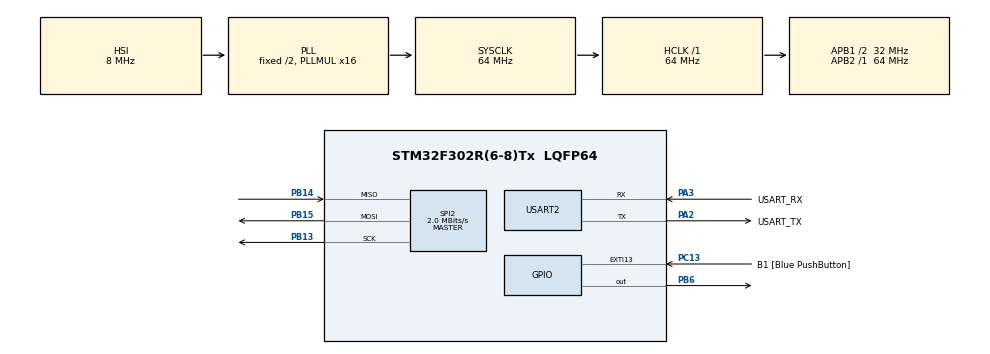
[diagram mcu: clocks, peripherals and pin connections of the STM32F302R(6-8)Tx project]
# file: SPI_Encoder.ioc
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Mcu.Family=STM32F3
Mcu.Name=STM32F302R(6-8)Tx
Mcu.Package=LQFP64
NVIC.PriorityGroup=NVIC_PRIORITYGROUP_0
PA13.GPIO_Label=TMS
PA13.Mode=Serial_Wire
PA13.Signal=SYS_JTMS-SWDIO
PA14.GPIO_Label=TCK
PA14.Mode=Serial_Wire
PA14.Signal=SYS_JTCK-SWCLK
PA2.GPIO_Label=USART_TX
PA2.GPIO_Mode=GPIO_MODE_AF_PP
PA2.GPIO_PuPd=GPIO_NOPULL
PA2.GPIO_Speed=GPIO_SPEED_FREQ_LOW
PA2.Mode=Asynchronous
PA2.Signal=USART2_TX
PA3.GPIO_Label=USART_RX
PA3.GPIO_Mode=GPIO_MODE_AF_PP
PA3.GPIO_PuPd=GPIO_NOPULL
PA3.GPIO_Speed=GPIO_SPEED_FREQ_LOW
PA3.Mode=Asynchronous
PA3.Signal=USART2_RX
PB13.Mode=Full_Duplex_Master
PB13.Signal=SPI2_SCK
PB14.Mode=Full_Duplex_Master
PB14.Signal=SPI2_MISO
PB15.Mode=Full_Duplex_Master
PB15.Signal=SPI2_MOSI
PB3.GPIO_Label=SWO
PB3.Mode=Trace_Asynchronous_SW
PB3.Signal=SYS_JTDO-TRACESWO
PB6.GPIO_PuPd=GPIO_NOPULL
PB6.GPIO_Speed=GPIO_SPEED_FREQ_HIGH
PB6.PinState=GPIO_PIN_RESET
PB6.Signal=GPIO_Output
PC13.GPIO_Label=B1 [Blue PushButton]
PC13.GPIO_ModeDefaultEXTI=GPIO_MODE_IT_FALLING
PC13.Signal=GPXTI13
PC14\ -\ OSC32_IN.Mode=LSE-External-Oscillator
PC14\ -\ OSC32_IN.Signal=RCC_OSC32_IN
PC15\ -\ OSC32_OUT.Mode=LSE-External-Oscillator
PC15\ -\ OSC32_OUT.Signal=RCC_OSC32_OUT
PF0-OSC_IN.Mode=HSE-External-Clock-Source
PF0-OSC_IN.Signal=RCC_OSC_IN
PF1-OSC_OUT.Signal=RCC_OSC_OUT
ProjectManager.HeapSize=0x200
ProjectManager.StackSize=0x400
ProjectManager.TargetToolchain=STM32CubeIDE
RCC.AHBFreq_Value=64000000
RCC.APB1CLKDivider=RCC_HCLK_DIV2
RCC.APB1Freq_Value=32000000
RCC.APB1TimFreq_Value=64000000
RCC.APB2Freq_Value=64000000
RCC.APB2TimFreq_Value=64000000
RCC.CortexFreq_Value=64000000
RCC.HCLKFreq_Value=64000000
RCC.HSE_VALUE=8000000
RCC.HSI_VALUE=8000000
RCC.PLLM=8
RCC.PLLMUL=RCC_PLL_MUL16
RCC.PLLN=336
RCC.PLLP=RCC_PLLP_DIV4
RCC.PLLQ=7
RCC.RCC_PLLsource_Clock_Source_FROM_HSE=RCC_HSE_PREDIV_DIV2
RCC.SYSCLKFreq_VALUE=64000000
RCC.SYSCLKSourceVirtual=RCC_SYSCLKSOURCE_PLLCLK
RCC.USBFreq_Value=64000000
SPI2.BaudRatePrescaler=SPI_BAUDRATEPRESCALER_16
SPI2.CalculateBaudRate=2.0 MBits/s
SPI2.DataSize=SPI_DATASIZE_8BIT
SPI2.Direction=SPI_DIRECTION_2LINES
SPI2.FirstBit=SPI_FIRSTBIT_MSB
SPI2.Mode=SPI_MODE_MASTER
SPI2.NSSPMode=SPI_NSS_PULSE_DISABLE
SPI2.VirtualType=VM_MASTER
TIM2.AutoReloadPreload=TIM_AUTORELOAD_PRELOAD_ENABLE
TIM2.Period=65535
TIM2.Prescaler=63
USART2.VirtualMode-Asynchronous=VM_ASYNC
VP_TIM2_VS_ClockSourceINT.Mode=Internal
board=NUCLEO-F302R8

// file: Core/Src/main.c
/* USER CODE BEGIN Header */
/**
  ******************************************************************************
  * @file           : main.c
  * @brief          : Main program body
  ******************************************************************************
  * @attention
  *
  * Copyright (c) 2022 STMicroelectronics.
  * All rights reserved.
  *
  * This software is licensed under terms that can be found in the LICENSE file
  * in the root directory of this software component.
  * If no LICENSE file comes with this software, it is provided AS-IS.
  *
  ******************************************************************************
  */
/* USER CODE END Header */
#include "main.h"

/* USER CODE BEGIN Includes */
#include <stdio.h>
#include <stdbool.h>

/* USER CODE END Includes */

/* USER CODE BEGIN PD */
#define AMT22_NOP       0x00
#define AMT22_RESET     0x60
#define AMT22_ZERO      0x70
#define NEWLINE         0x0A
#define TAB             0x09
#define RES12           12
#define RES14           14
/* USER CODE END PD */

 SPI_HandleTypeDef hspi2;

TIM_HandleTypeDef htim2;

UART_HandleTypeDef huart2;

void SystemClock_Config(void);
static void MX_GPIO_Init(void);
static void MX_USART2_UART_Init(void);
static void MX_SPI2_Init(void);
static void MX_TIM2_Init(void);

/* USER CODE BEGIN 0 */
uint8_t RxData[2];
uint8_t TxData[2];
uint16_t abs_pos;
bool received;
bool received2;
uint32_t count;
uint32_t cnt;
/* USER CODE END 0 */

int main(void)
{

  /* MCU Configuration--------------------------------------------------------*/

  /* Reset of all peripherals, Initializes the Flash interface and the Systick. */
  HAL_Init();

  /* Configure the system clock */
  SystemClock_Config();

  /* Initialize all configured peripherals */
  MX_GPIO_Init();
  MX_USART2_UART_Init();
  MX_SPI2_Init();
  MX_TIM2_Init();
  /* USER CODE BEGIN 2 */
  HAL_TIM_Base_Start(&htim2);
  HAL_GPIO_WritePin(GPIOB,GPIO_PIN_6,GPIO_PIN_SET);
//	 abs_pos=getPositionSPI(&hspi2,GPIOB,GPIO_PIN_6,RES12,&htim2);

  /* USER CODE END 2 */

  /* Infinite loop */
  while (1)
  {

    /* USER CODE BEGIN 3 */
	  abs_pos=getPositionSPI(&hspi2,GPIOB,GPIO_PIN_6,RES12,&htim2);
	  cnt++;
	  HAL_Delay(1);
  }
  /* USER CODE END 3 */
}

void SystemClock_Config(void)
{
  RCC_OscInitTypeDef RCC_OscInitStruct = {0};
  RCC_ClkInitTypeDef RCC_ClkInitStruct = {0};

  /** Initializes the RCC Oscillators according to the specified parameters
  * in the RCC_OscInitTypeDef structure.
  */
  RCC_OscInitStruct.OscillatorType = RCC_OSCILLATORTYPE_HSI;
  RCC_OscInitStruct.HSIState = RCC_HSI_ON;
  RCC_OscInitStruct.HSICalibrationValue = RCC_HSICALIBRATION_DEFAULT;
  RCC_OscInitStruct.PLL.PLLState = RCC_PLL_ON;
  RCC_OscInitStruct.PLL.PLLSource = RCC_PLLSOURCE_HSI;
  RCC_OscInitStruct.PLL.PLLMUL = RCC_PLL_MUL16;
  if (HAL_RCC_OscConfig(&RCC_OscInitStruct) != HAL_OK)
  {
    Error_Handler();
  }

  /** Initializes the CPU, AHB and APB buses clocks
  */
  RCC_ClkInitStruct.ClockType = RCC_CLOCKTYPE_HCLK|RCC_CLOCKTYPE_SYSCLK
                              |RCC_CLOCKTYPE_PCLK1|RCC_CLOCKTYPE_PCLK2;
  RCC_ClkInitStruct.SYSCLKSource = RCC_SYSCLKSOURCE_PLLCLK;
  RCC_ClkInitStruct.AHBCLKDivider = RCC_SYSCLK_DIV1;
  RCC_ClkInitStruct.APB1CLKDivider = RCC_HCLK_DIV2;
  RCC_ClkInitStruct.APB2CLKDivider = RCC_HCLK_DIV1;

  if (HAL_RCC_ClockConfig(&RCC_ClkInitStruct, FLASH_LATENCY_2) != HAL_OK)
  {
    Error_Handler();
  }
}

static void MX_SPI2_Init(void)
{

  /* SPI2 parameter configuration*/
  hspi2.Instance = SPI2;
  hspi2.Init.Mode = SPI_MODE_MASTER;
  hspi2.Init.Direction = SPI_DIRECTION_2LINES;
  hspi2.Init.DataSize = SPI_DATASIZE_8BIT;
  hspi2.Init.CLKPolarity = SPI_POLARITY_LOW;
  hspi2.Init.CLKPhase = SPI_PHASE_1EDGE;
  hspi2.Init.NSS = SPI_NSS_SOFT;
  hspi2.Init.BaudRatePrescaler = SPI_BAUDRATEPRESCALER_16;
  hspi2.Init.FirstBit = SPI_FIRSTBIT_MSB;
  hspi2.Init.TIMode = SPI_TIMODE_DISABLE;
  hspi2.Init.CRCCalculation = SPI_CRCCALCULATION_DISABLE;
  hspi2.Init.CRCPolynomial = 7;
  hspi2.Init.CRCLength = SPI_CRC_LENGTH_DATASIZE;
  hspi2.Init.NSSPMode = SPI_NSS_PULSE_DISABLE;
  if (HAL_SPI_Init(&hspi2) != HAL_OK)
  {
    Error_Handler();
  }

}

static void MX_TIM2_Init(void)
{

  TIM_ClockConfigTypeDef sClockSourceConfig = {0};
  TIM_MasterConfigTypeDef sMasterConfig = {0};

  htim2.Instance = TIM2;
  htim2.Init.Prescaler = 63;
  htim2.Init.CounterMode = TIM_COUNTERMODE_UP;
  htim2.Init.Period = 65535;
  htim2.Init.ClockDivision = TIM_CLOCKDIVISION_DIV1;
  htim2.Init.AutoReloadPreload = TIM_AUTORELOAD_PRELOAD_ENABLE;
  if (HAL_TIM_Base_Init(&htim2) != HAL_OK)
  {
    Error_Handler();
  }
  sClockSourceConfig.ClockSource = TIM_CLOCKSOURCE_INTERNAL;
  if (HAL_TIM_ConfigClockSource(&htim2, &sClockSourceConfig) != HAL_OK)
  {
    Error_Handler();
  }
  sMasterConfig.MasterOutputTrigger = TIM_TRGO_RESET;
  sMasterConfig.MasterSlaveMode = TIM_MASTERSLAVEMODE_DISABLE;
  if (HAL_TIMEx_MasterConfigSynchronization(&htim2, &sMasterConfig) != HAL_OK)
  {
    Error_Handler();
  }

}

static void MX_USART2_UART_Init(void)
{

  huart2.Instance = USART2;
  huart2.Init.BaudRate = 38400;
  huart2.Init.WordLength = UART_WORDLENGTH_8B;
  huart2.Init.StopBits = UART_STOPBITS_1;
  huart2.Init.Parity = UART_PARITY_NONE;
  huart2.Init.Mode = UART_MODE_TX_RX;
  huart2.Init.HwFlowCtl = UART_HWCONTROL_NONE;
  huart2.Init.OverSampling = UART_OVERSAMPLING_16;
  huart2.Init.OneBitSampling = UART_ONE_BIT_SAMPLE_DISABLE;
  huart2.AdvancedInit.AdvFeatureInit = UART_ADVFEATURE_NO_INIT;
  if (HAL_UART_Init(&huart2) != HAL_OK)
  {
    Error_Handler();
  }

}

static void MX_GPIO_Init(void)
{
  GPIO_InitTypeDef GPIO_InitStruct = {0};

  /* GPIO Ports Clock Enable */
  __HAL_RCC_GPIOC_CLK_ENABLE();
  __HAL_RCC_GPIOF_CLK_ENABLE();
  __HAL_RCC_GPIOA_CLK_ENABLE();
  __HAL_RCC_GPIOB_CLK_ENABLE();

  /*Configure GPIO pin Output Level */
  HAL_GPIO_WritePin(GPIOB, GPIO_PIN_6, GPIO_PIN_RESET);

  /*Configure GPIO pin : B1_Pin */
  GPIO_InitStruct.Pin = B1_Pin;
  GPIO_InitStruct.Mode = GPIO_MODE_IT_FALLING;
  GPIO_InitStruct.Pull = GPIO_NOPULL;
  HAL_GPIO_Init(B1_GPIO_Port, &GPIO_InitStruct);

  /*Configure GPIO pin : PB6 */
  GPIO_InitStruct.Pin = GPIO_PIN_6;
  GPIO_InitStruct.Mode = GPIO_MODE_OUTPUT_PP;
  GPIO_InitStruct.Pull = GPIO_NOPULL;
  GPIO_InitStruct.Speed = GPIO_SPEED_FREQ_HIGH;
  HAL_GPIO_Init(GPIOB, &GPIO_InitStruct);

}

void Error_Handler(void)
{
  __disable_irq();
  while (1)
  {
  }
}
